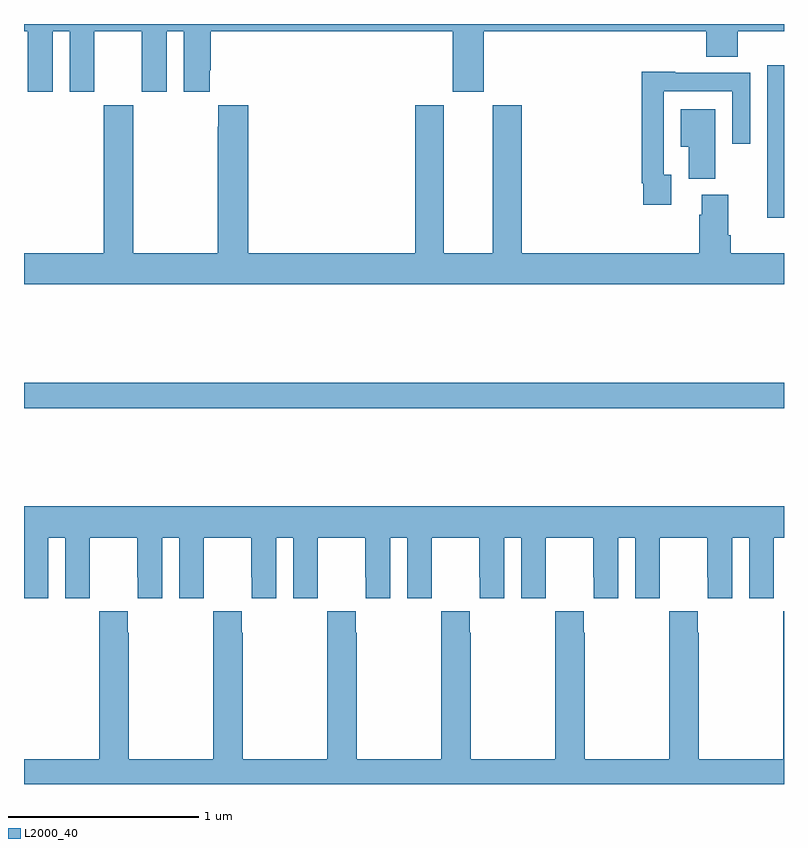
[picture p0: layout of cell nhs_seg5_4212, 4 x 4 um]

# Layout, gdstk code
import gdstk
lib = gdstk.Library(unit=1e-6, precision=1e-09)
def R(c, l, rs):  # rectangles x0, y0, x1, y1
    for r in rs: c.add(gdstk.rectangle(r[:2], r[2:], *l))
def P(c, l, *ps):  # polygons
    for p in ps: c.add(gdstk.Polygon(p, *l))
L2000_40 = (2000, 40)

nhs_seg5_4212 = lib.new_cell('nhs_seg5_4212')
R(nhs_seg5_4212, L2000_40, [(359,854.776,363,854.912)])
P(nhs_seg5_4212, L2000_40, [(359,856.76),(359.021,856.76),(359.021,856.443),(359.152,856.443),(359.152,856.76),(359.24,856.76),(359.24,856.443),(359.371,856.443),(359.371,856.76),(359.621,856.76),(359.621,856.443),(359.752,856.443),(359.752,856.76),(359.84,856.76),(359.84,856.443),(359.977,856.443),(359.977,856.555),(359.984,856.555),(359.984,856.76),(361.256,856.76),(361.256,856.443),(361.42,856.443),(361.42,856.76),(362.591,856.76),(362.591,856.627),(362.756,856.627),(362.756,856.76),(363,856.76),(363,856.799),(359,856.799)],
  [(363,856.582),(362.913,856.582),(362.913,856.082),(362.912,856.082),(362.912,855.779),(363,855.779)],
  [(362.407,856.005),(362.367,856.005),(362.367,856.446),(362.727,856.446),(362.727,856.17),(362.823,856.17),(362.823,856.542),(362.427,856.542),(362.427,856.549),(362.251,856.549),(362.251,855.961),(362.259,855.961),(362.259,855.849),(362.407,855.849)],
  [(363,855.592),(362.72,855.592),(362.72,855.688),(362.707,855.688),(362.707,855.9),(362.567,855.9),(362.567,855.794),(362.555,855.794),(362.555,855.592),(361.619,855.592),(361.619,856.371),(361.466,856.371),(361.466,855.592),(361.21,855.592),(361.21,856.371),(361.058,856.371),(361.058,855.592),(360.179,855.592),(360.179,856.372),(360.023,856.372),(360.023,856.259),(360.019,856.259),(360.019,855.592),(359.574,855.592),(359.574,856.372),(359.419,856.372),(359.419,855.592),(359,855.592),(359,855.428),(363,855.428)],
  [(362.638,856.351),(362.456,856.351),(362.456,856.154),(362.498,856.154),(362.498,855.985),(362.638,855.985)],
  [(359,853.776),(359.128,853.776),(359.128,854.096),(359.216,854.096),(359.216,853.776),(359.346,853.776),(359.346,853.888),(359.347,853.888),(359.347,854.096),(359.597,854.096),(359.597,853.888),(359.598,853.888),(359.598,853.776),(359.728,853.776),(359.728,854.096),(359.816,854.096),(359.816,853.776),(359.946,853.776),(359.946,853.888),(359.947,853.888),(359.947,854.096),(360.197,854.096),(360.197,853.888),(360.198,853.888),(360.198,853.776),(360.328,853.776),(360.328,854.096),(360.416,854.096),(360.416,853.776),(360.546,853.776),(360.546,853.888),(360.547,853.888),(360.547,854.096),(360.797,854.096),(360.797,853.888),(360.798,853.888),(360.798,853.776),(360.928,853.776),(360.928,854.096),(361.016,854.096),(361.016,853.776),(361.146,853.776),(361.146,853.888),(361.147,853.888),(361.147,854.096),(361.397,854.096),(361.397,853.888),(361.398,853.888),(361.398,853.776),(361.528,853.776),(361.528,854.096),(361.616,854.096),(361.616,853.776),(361.746,853.776),(361.746,853.888),(361.747,853.888),(361.747,854.096),(361.997,854.096),(361.997,853.888),(361.998,853.888),(361.998,853.776),(362.128,853.776),(362.128,854.096),(362.216,854.096),(362.216,853.776),(362.346,853.776),(362.346,853.888),(362.347,853.888),(362.347,854.096),(362.597,854.096),(362.597,853.888),(362.598,853.888),(362.598,853.776),(362.728,853.776),(362.728,854.096),(362.816,854.096),(362.816,853.776),(362.946,853.776),(362.946,853.888),(362.947,853.888),(362.947,854.096),(363,854.096),(363,854.26),(359,854.26)],
  [(363,853.708),(362.997,853.708),(362.997,853.595),(362.995,853.595),(362.995,852.928),(362.55,852.928),(362.55,853.595),(362.547,853.595),(362.547,853.708),(362.397,853.708),(362.397,853.595),(362.395,853.595),(362.395,852.928),(361.95,852.928),(361.95,853.595),(361.947,853.595),(361.947,853.708),(361.797,853.708),(361.797,853.595),(361.795,853.595),(361.795,852.928),(361.35,852.928),(361.35,853.595),(361.347,853.595),(361.347,853.708),(361.197,853.708),(361.197,853.595),(361.195,853.595),(361.195,852.928),(360.75,852.928),(360.75,853.595),(360.747,853.595),(360.747,853.708),(360.597,853.708),(360.597,853.595),(360.595,853.595),(360.595,852.928),(360.15,852.928),(360.15,853.595),(360.147,853.595),(360.147,853.708),(359.997,853.708),(359.997,853.595),(359.995,853.595),(359.995,852.928),(359.55,852.928),(359.55,853.595),(359.547,853.595),(359.547,853.708),(359.397,853.708),(359.397,853.595),(359.395,853.595),(359.395,852.928),(359,852.928),(359,852.799),(363,852.799)])

lib.write_gds('nhs_seg5_4212.gds')
